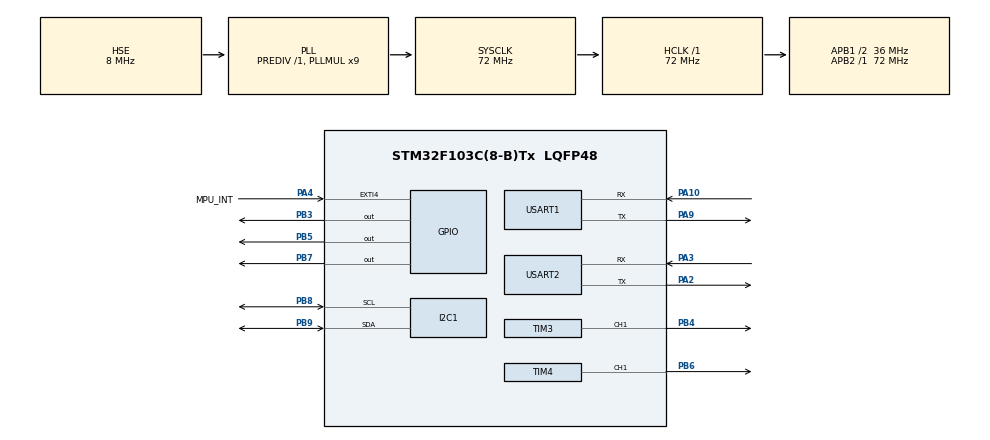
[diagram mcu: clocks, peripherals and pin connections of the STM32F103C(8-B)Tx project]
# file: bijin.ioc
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I2C1.I2C_Mode=I2C_Fast
Mcu.Family=STM32F1
Mcu.Name=STM32F103C(8-B)Tx
Mcu.Package=LQFP48
NVIC.PriorityGroup=NVIC_PRIORITYGROUP_4
NVIC.TIM2_IRQn=true\:6\:0\:true\:false\:true\:true\:true
NVIC.USART1_IRQn=true\:0\:0\:true\:false\:true\:true\:true
PA10.Mode=Asynchronous
PA10.Signal=USART1_RX
PA13.Mode=Serial_Wire
PA13.Signal=SYS_JTMS-SWDIO
PA14.Mode=Serial_Wire
PA14.Signal=SYS_JTCK-SWCLK
PA2.Mode=Asynchronous
PA2.Signal=USART2_TX
PA3.Mode=Asynchronous
PA3.Signal=USART2_RX
PA4.GPIO_Label=MPU_INT
PA4.GPIO_ModeDefaultEXTI=GPIO_MODE_IT_FALLING
PA4.Signal=GPXTI4
PA9.Mode=Asynchronous
PA9.Signal=USART1_TX
PB3.GPIO_Speed=GPIO_SPEED_FREQ_MEDIUM
PB3.PinState=GPIO_PIN_SET
PB3.Signal=GPIO_Output
PB4.GPIO_Speed=GPIO_SPEED_FREQ_MEDIUM
PB4.Signal=S_TIM3_CH1
PB5.GPIO_PuPd=GPIO_NOPULL
PB5.GPIO_Speed=GPIO_SPEED_FREQ_MEDIUM
PB5.PinState=GPIO_PIN_SET
PB5.Signal=GPIO_Output
PB6.GPIO_Speed=GPIO_SPEED_FREQ_MEDIUM
PB6.Signal=S_TIM4_CH1
PB7.GPIO_PuPd=GPIO_NOPULL
PB7.GPIO_Speed=GPIO_SPEED_FREQ_MEDIUM
PB7.Signal=GPIO_Output
PB8.GPIO_Speed=GPIO_SPEED_FREQ_HIGH
PB8.Mode=I2C
PB8.Signal=I2C1_SCL
PB9.GPIO_Speed=GPIO_SPEED_FREQ_HIGH
PB9.Mode=I2C
PB9.Signal=I2C1_SDA
PD0-OSC_IN.Mode=HSE-External-Oscillator
PD0-OSC_IN.Signal=RCC_OSC_IN
PD1-OSC_OUT.Mode=HSE-External-Oscillator
PD1-OSC_OUT.Signal=RCC_OSC_OUT
ProjectManager.HeapSize=0x200
ProjectManager.StackSize=0x400
ProjectManager.TargetToolchain=MDK-ARM V5.27
RCC.AHBFreq_Value=72000000
RCC.APB1CLKDivider=RCC_HCLK_DIV2
RCC.APB1Freq_Value=36000000
RCC.APB1TimFreq_Value=72000000
RCC.APB2Freq_Value=72000000
RCC.APB2TimFreq_Value=72000000
RCC.HCLKFreq_Value=72000000
RCC.PLLMUL=RCC_PLL_MUL9
RCC.PLLSourceVirtual=RCC_PLLSOURCE_HSE
RCC.SYSCLKFreq_VALUE=72000000
RCC.SYSCLKSource=RCC_SYSCLKSOURCE_PLLCLK
RCC.USBFreq_Value=72000000
SH.S_TIM3_CH1.0=TIM3_CH1,PWM Generation1 CH1
SH.S_TIM4_CH1.0=TIM4_CH1,PWM Generation1 CH1
TIM2.Period=10000
TIM2.Prescaler=71
TIM3.Channel-PWM\ Generation1\ CH1=TIM_CHANNEL_1
TIM3.Period=999
TIM3.Prescaler=35
TIM3.Pulse-PWM\ Generation1\ CH1=500
TIM4.Channel-PWM\ Generation1\ CH1=TIM_CHANNEL_1
TIM4.Period=999
TIM4.Prescaler=35
TIM4.Pulse-PWM\ Generation1\ CH1=500
USART1.VirtualMode=VM_ASYNC
USART2.VirtualMode=VM_ASYNC
VP_TIM2_VS_ClockSourceINT.Mode=Internal
board=custom

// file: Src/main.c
/* USER CODE BEGIN Header */
/**
  ******************************************************************************
  * @file           : main.c
  * @brief          : Main program body
  ******************************************************************************
  * @attention
  *
  * <h2><center>&copy; Copyright (c) 2021 STMicroelectronics.
  * All rights reserved.</center></h2>
  *
  * This software component is licensed by ST under BSD 3-Clause license,
  * the "License"; You may not use this file except in compliance with the
  * License. You may obtain a copy of the License at:
  *                        opensource.org/licenses/BSD-3-Clause
  *
  ******************************************************************************
  */
/* USER CODE END Header */

#include "main.h"
#include "i2c.h"
#include "tim.h"
#include "usart.h"
#include "gpio.h"

/* USER CODE BEGIN Includes */
#include "stdio.h"
#include "mpu6050.h"
#include <math.h>
/* USER CODE END Includes */

void SystemClock_Config(void);
/* USER CODE BEGIN PFP */
#define N 336
#define FM 2000000
#define Perimeter 0.206298
char data[10];
double s=0;
double l=0;

#define G			9.80665f		      // m/s^2
#define RadtoDeg    57.324841f				//????? (?? * 180/3.1415)
#define DegtoRad    0.0174533f				//????? (?? * 3.1415/180)

#define Acc_Gain  	0.0001220f				//?????G (?????????-+4g LSBa = 2*4/65535.0)
#define Gyro_Gain 	0.0609756f				//?????? (?????????+-2000 LSBg = 2*2000/65535.0)
#define Gyro_Gr	    0.0010641f			  //???????(3.1415/180 * LSBg)

const float Kp=1.5;
const float Ki=0.005;
const float halfT=0.05;

float q0 = 1, q1 = 0, q2 = 0, q3 = 0;
float exInt = 0, eyInt = 0, ezInt = 0;
int x1,x2;
/* USER CODE END PFP */

/* USER CODE BEGIN 0 */

static double abs(double a){
	if(a<0) return -a;
	return a;
}
double max(double a,double b){
	if(a>b) return a;
	return b;
}
double min(double a,double b){
	if(a<b) return a;
	return b;
}
void MX_TIM3_Init1(int Period)
{
  TIM_MasterConfigTypeDef sMasterConfig = {0};
  TIM_OC_InitTypeDef sConfigOC = {0};

  htim3.Instance = TIM3;
  htim3.Init.Prescaler = 35;
  htim3.Init.CounterMode = TIM_COUNTERMODE_UP;
  htim3.Init.Period = Period-1;
  htim3.Init.ClockDivision = TIM_CLOCKDIVISION_DIV1;
  htim3.Init.AutoReloadPreload = TIM_AUTORELOAD_PRELOAD_DISABLE;
  if (HAL_TIM_PWM_Init(&htim3) != HAL_OK)
  {
    Error_Handler();
  }
  sMasterConfig.MasterOutputTrigger = TIM_TRGO_RESET;
  sMasterConfig.MasterSlaveMode = TIM_MASTERSLAVEMODE_DISABLE;
  if (HAL_TIMEx_MasterConfigSynchronization(&htim3, &sMasterConfig) != HAL_OK)
  {
    Error_Handler();
  }
  sConfigOC.OCMode = TIM_OCMODE_PWM1;
  sConfigOC.Pulse = htim3.Init.Period/2;
  sConfigOC.OCPolarity = TIM_OCPOLARITY_HIGH;
  sConfigOC.OCFastMode = TIM_OCFAST_DISABLE;
  if (HAL_TIM_PWM_ConfigChannel(&htim3, &sConfigOC, TIM_CHANNEL_1) != HAL_OK)
  {
    Error_Handler();
  }
  HAL_TIM_MspPostInit(&htim3);

}
void MX_TIM4_Init1(int Period)
{
  TIM_MasterConfigTypeDef sMasterConfig = {0};
  TIM_OC_InitTypeDef sConfigOC = {0};

  htim4.Instance = TIM4;
  htim4.Init.Prescaler = 35;
  htim4.Init.CounterMode = TIM_COUNTERMODE_UP;
  htim4.Init.Period = Period-1;
  htim4.Init.ClockDivision = TIM_CLOCKDIVISION_DIV1;
  htim4.Init.AutoReloadPreload = TIM_AUTORELOAD_PRELOAD_DISABLE;
  if (HAL_TIM_PWM_Init(&htim4) != HAL_OK)
  {
    Error_Handler();
  }
  sMasterConfig.MasterOutputTrigger = TIM_TRGO_RESET;
  sMasterConfig.MasterSlaveMode = TIM_MASTERSLAVEMODE_DISABLE;
  if (HAL_TIMEx_MasterConfigSynchronization(&htim4, &sMasterConfig) != HAL_OK)
  {
    Error_Handler();
  }
  sConfigOC.OCMode = TIM_OCMODE_PWM1;
  sConfigOC.Pulse = htim4.Init.Period/2;
  sConfigOC.OCPolarity = TIM_OCPOLARITY_HIGH;
  sConfigOC.OCFastMode = TIM_OCFAST_DISABLE;
  if (HAL_TIM_PWM_ConfigChannel(&htim4, &sConfigOC, TIM_CHANNEL_1) != HAL_OK)
  {
    Error_Handler();
  }
  HAL_TIM_MspPostInit(&htim4);

}
void Changef(double InN3,double InN4){

	if(InN3==0){
		InN3=0.001;
	}
	if(InN4==0){
		InN4=0.001;
	}
	if(InN3<0) {
		HAL_GPIO_WritePin(GPIOB,GPIO_PIN_3,GPIO_PIN_SET);
		InN3=-InN3;
	}else HAL_GPIO_WritePin(GPIOB,GPIO_PIN_3,GPIO_PIN_RESET);
	if(InN4<0){
		HAL_GPIO_WritePin(GPIOB,GPIO_PIN_5,GPIO_PIN_RESET);
		InN4=-InN4;
	}else HAL_GPIO_WritePin(GPIOB,GPIO_PIN_5,GPIO_PIN_SET);
	InN3=InN3/Perimeter;
	InN4=InN4/Perimeter;
	int tim3=FM/(InN3*N);
	int tim4=FM/(InN4*N);
	HAL_TIM_PWM_Stop(&htim3, TIM_CHANNEL_1);
	HAL_TIM_PWM_Stop(&htim4, TIM_CHANNEL_1);
	MX_TIM3_Init1(tim3);
	MX_TIM4_Init1(tim4);
	HAL_TIM_PWM_Start(&htim3,TIM_CHANNEL_1);
  HAL_TIM_PWM_Start(&htim4,TIM_CHANNEL_1);
}
int fputc(int ch, FILE *f){
 uint8_t temp[1] = {ch};
 HAL_UART_Transmit(&huart2, temp, 1, 0xffff);
return ch;
}

void output(double l,double s){
	if(l>0){
		if(s<0)
		Changef(l-s,l+s);
		else
		Changef(l-s,l+s);
	}else{
		if(s>0)
		Changef(l-s,l+s);
		else
		Changef(l-s,l+s);
	}
}
double nums=0;
double kp=0.3;
double ki=0.008;
double kd=0.0;
double last_e=0;
double ans=0;
double anss=0;
double ans_pitch=0;
int timm2=0;
double vee=0;
double ve=0;
double vnums=0;
double vkp=0.8;
double vki=0.006;
double vkd=-1;
double last_ve=0;
/* USER CODE END 0 */

int main(void)
{

  /* MCU Configuration--------------------------------------------------------*/

  /* Reset of all peripherals, Initializes the Flash interface and the Systick. */
  HAL_Init();

  /* Configure the system clock */
  SystemClock_Config();

  /* Initialize all configured peripherals */
  MX_GPIO_Init();
  MX_TIM3_Init();
  MX_USART1_UART_Init();
  MX_USART2_UART_Init();
  MX_TIM4_Init();
  MX_I2C1_Init();
  MX_TIM2_Init();
  /* USER CODE BEGIN 2 */
	HAL_UART_Receive_IT(&huart1,(uint8_t *)data,5);
	HAL_TIM_PWM_Start(&htim3,TIM_CHANNEL_1);
	HAL_TIM_PWM_Start(&htim4,TIM_CHANNEL_1);
	Changef(0.0001,0.0001);
	while(w_mpu_init() != mpu_ok){
		printf("0x%x (ID_ERROR)\r\n", w_mpu_init());
		HAL_Delay(500);
	}
	dmp_init();
	for(int i=0;i<500;i++){
		read_dmp(&mpu_pose_msg);
		ans+=mpu_pose_msg.pitch;
		HAL_Delay(2);
	}
	ans=ans/500.0;
	HAL_TIM_Base_Start_IT(&htim2);
  /* USER CODE END 2 */

  /* Infinite loop */
  /* USER CODE BEGIN WHILE */
  while (1){
			printf("output=%lf, pitch=%lf,", l, mpu_pose_msg.pitch);
    /* USER CODE END WHILE */

  }
}

void SystemClock_Config(void)
{
  RCC_OscInitTypeDef RCC_OscInitStruct = {0};
  RCC_ClkInitTypeDef RCC_ClkInitStruct = {0};

  /** Initializes the CPU, AHB and APB busses clocks
  */
  RCC_OscInitStruct.OscillatorType = RCC_OSCILLATORTYPE_HSE;
  RCC_OscInitStruct.HSEState = RCC_HSE_ON;
  RCC_OscInitStruct.HSEPredivValue = RCC_HSE_PREDIV_DIV1;
  RCC_OscInitStruct.HSIState = RCC_HSI_ON;
  RCC_OscInitStruct.PLL.PLLState = RCC_PLL_ON;
  RCC_OscInitStruct.PLL.PLLSource = RCC_PLLSOURCE_HSE;
  RCC_OscInitStruct.PLL.PLLMUL = RCC_PLL_MUL9;
  if (HAL_RCC_OscConfig(&RCC_OscInitStruct) != HAL_OK)
  {
    Error_Handler();
  }
  /** Initializes the CPU, AHB and APB busses clocks
  */
  RCC_ClkInitStruct.ClockType = RCC_CLOCKTYPE_HCLK|RCC_CLOCKTYPE_SYSCLK
                              |RCC_CLOCKTYPE_PCLK1|RCC_CLOCKTYPE_PCLK2;
  RCC_ClkInitStruct.SYSCLKSource = RCC_SYSCLKSOURCE_PLLCLK;
  RCC_ClkInitStruct.AHBCLKDivider = RCC_SYSCLK_DIV1;
  RCC_ClkInitStruct.APB1CLKDivider = RCC_HCLK_DIV2;
  RCC_ClkInitStruct.APB2CLKDivider = RCC_HCLK_DIV1;

  if (HAL_RCC_ClockConfig(&RCC_ClkInitStruct, FLASH_LATENCY_2) != HAL_OK)
  {
    Error_Handler();
  }
}

/* USER CODE BEGIN 4 */
void HAL_UART_RxCpltCallback(UART_HandleTypeDef *UartHandle){
	if(data[0]==55){
		x1=((uint16_t)(data[1]<<8) + data[2]);
		x2=((uint16_t)(data[3]<<8) + data[4]);

		if(x1==320) x1=0;
		if(x2==320) x2=0;

//		if(x1*x2!=0) l=4-abs(x1-x2)/80.0;
		if(x1*x2!=0)  s=(x1+x2-320)/180.0*l;
		else if(x2!=0) s=(x2-160)/90.0*l;
		else if(x1!=0) s=(x1-160)/90.0*l;
//		printf("x1=%d , x2=%d, l=%lf , s=%lf, ", x1-160, x2-160, l, s);
//		output(l,s);
	}
	HAL_UART_Receive_IT(&huart1,(uint8_t *)data,5);
}
void HAL_TIM_PeriodElapsedCallback(TIM_HandleTypeDef *htim){
	if (htim == (&htim2)){

		ve=max(0,1.5-abs(x1-x2)/320.0)-l;
//		ve=2-l;
		vee=ve-last_ve;
		vnums+=ve;
		double vP=ve*vkp;
		double vI=vnums*vki;
		double vD=vee*vkd;
		double angle=vP+vI+vD;
		angle=max(min(angle,5),-5);
		read_dmp(&mpu_pose_msg);
		double e=mpu_pose_msg.pitch-ans-angle;//3.8
		double ee=e-last_e;
		nums+=e;
		double P=e*kp;
		double I=nums*ki;
		double D=ee*kd;
		l=P+I+D;
		//printf("P=%lf, I=%lf, D=%lf, output=%lf, ans=%lf, pitch=%lf, angle=%lf,\n", P, I, D, l, ans, mpu_pose_msg.pitch, angle);
		output(l,s);
		last_e=e;
		last_ve=ve;
	}
}
/* USER CODE END 4 */

void Error_Handler(void)
{
}

/************************ (C) COPYRIGHT STMicroelectronics *****END OF FILE****/
